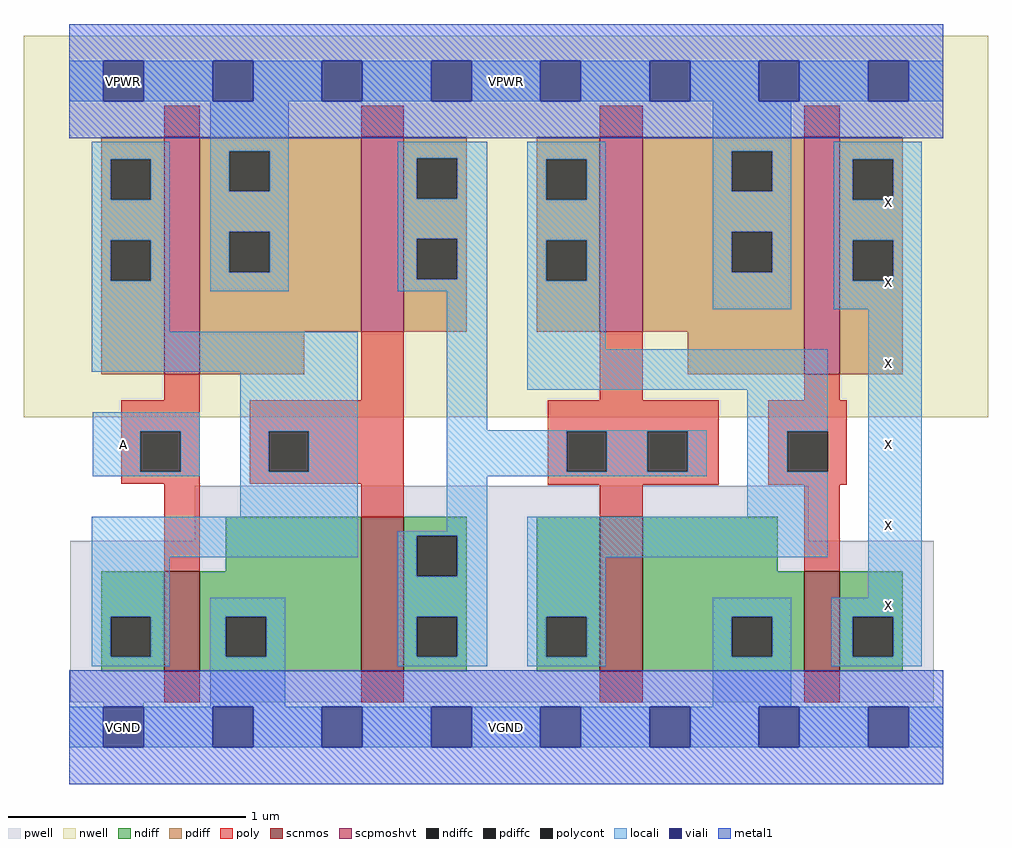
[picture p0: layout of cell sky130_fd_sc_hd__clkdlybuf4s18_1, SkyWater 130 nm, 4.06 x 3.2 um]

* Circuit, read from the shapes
.subckt sky130_fd_sc_hd__clkdlybuf4s18_1 A VGND VNB VPB VPWR X
XM1 VGND A n1 VNB sky130_fd_pr__nfet_01v8 w=0.42 l=0.15
XM2 n2 n1 VGND VNB sky130_fd_pr__nfet_01v8 w=0.65 l=0.18
XM3 VGND n2 n3 VNB sky130_fd_pr__nfet_01v8 w=0.65 l=0.18
XM4 X n3 VGND VNB sky130_fd_pr__nfet_01v8 w=0.42 l=0.15
XM5 VPWR A n1 VPB sky130_fd_pr__pfet_01v8_hvt w=1 l=0.15
XM6 n2 n1 VPWR VPB sky130_fd_pr__pfet_01v8_hvt w=0.82 l=0.18
XM7 VPWR n2 n3 VPB sky130_fd_pr__pfet_01v8_hvt w=0.82 l=0.18
XM8 X n3 VPWR VPB sky130_fd_pr__pfet_01v8_hvt w=1 l=0.15
.ends

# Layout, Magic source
magic
tech sky130A
magscale 1 2
<< nwell >>
rect -38 261 774 582
<< pwell >>
rect 106 157 623 203
rect 1 21 728 157
rect 29 -17 63 21
<< scnmos >>
rect 80 47 110 131
rect 246 47 282 177
rect 447 47 483 177
rect 619 47 649 131
<< scpmoshvt >>
rect 80 297 110 497
rect 246 333 282 497
rect 447 333 483 497
rect 619 297 649 497
<< ndiff >>
rect 132 131 246 177
rect 27 93 80 131
rect 27 59 35 93
rect 69 59 80 93
rect 27 47 80 59
rect 110 93 246 131
rect 110 59 132 93
rect 166 59 246 93
rect 110 47 246 59
rect 282 161 335 177
rect 282 127 293 161
rect 327 127 335 161
rect 282 93 335 127
rect 282 59 293 93
rect 327 59 335 93
rect 282 47 335 59
rect 394 93 447 177
rect 394 59 402 93
rect 436 59 447 93
rect 394 47 447 59
rect 483 131 597 177
rect 483 93 619 131
rect 483 59 558 93
rect 592 59 619 93
rect 483 47 619 59
rect 649 93 702 131
rect 649 59 660 93
rect 694 59 702 93
rect 649 47 702 59
<< pdiff >>
rect 27 478 80 497
rect 27 444 35 478
rect 69 444 80 478
rect 27 410 80 444
rect 27 376 35 410
rect 69 376 80 410
rect 27 297 80 376
rect 110 485 246 497
rect 110 451 135 485
rect 169 451 246 485
rect 110 417 246 451
rect 110 383 135 417
rect 169 383 246 417
rect 110 333 246 383
rect 282 479 335 497
rect 282 445 293 479
rect 327 445 335 479
rect 282 411 335 445
rect 282 377 293 411
rect 327 377 335 411
rect 282 333 335 377
rect 394 478 447 497
rect 394 444 402 478
rect 436 444 447 478
rect 394 410 447 444
rect 394 376 402 410
rect 436 376 447 410
rect 394 333 447 376
rect 483 485 619 497
rect 483 451 558 485
rect 592 451 619 485
rect 483 417 619 451
rect 483 383 558 417
rect 592 383 619 417
rect 483 333 619 383
rect 110 297 198 333
rect 521 297 619 333
rect 649 478 702 497
rect 649 444 660 478
rect 694 444 702 478
rect 649 410 702 444
rect 649 376 660 410
rect 694 376 702 410
rect 649 297 702 376
<< ndiffc >>
rect 35 59 69 93
rect 132 59 166 93
rect 293 127 327 161
rect 293 59 327 93
rect 402 59 436 93
rect 558 59 592 93
rect 660 59 694 93
<< pdiffc >>
rect 35 444 69 478
rect 35 376 69 410
rect 135 451 169 485
rect 135 383 169 417
rect 293 445 327 479
rect 293 377 327 411
rect 402 444 436 478
rect 402 376 436 410
rect 558 451 592 485
rect 558 383 592 417
rect 660 444 694 478
rect 660 376 694 410
<< poly >>
rect 80 497 110 523
rect 246 497 282 523
rect 447 497 483 523
rect 619 497 649 523
rect 80 275 110 297
rect 246 275 282 333
rect 447 275 483 333
rect 619 275 649 297
rect 44 249 110 275
rect 44 215 60 249
rect 94 215 110 249
rect 44 205 110 215
rect 152 249 282 275
rect 152 215 168 249
rect 202 215 282 249
rect 152 205 282 215
rect 80 131 110 205
rect 246 177 282 205
rect 403 249 547 275
rect 403 215 419 249
rect 453 215 487 249
rect 521 215 547 249
rect 403 204 547 215
rect 589 249 655 275
rect 589 215 605 249
rect 639 215 655 249
rect 589 204 655 215
rect 447 177 483 204
rect 619 131 649 204
rect 80 21 110 47
rect 246 21 282 47
rect 447 21 483 47
rect 619 21 649 47
<< polycont >>
rect 60 215 94 249
rect 168 215 202 249
rect 419 215 453 249
rect 487 215 521 249
rect 605 215 639 249
<< locali >>
rect 0 527 29 561
rect 63 527 121 561
rect 155 527 213 561
rect 247 527 305 561
rect 339 527 397 561
rect 431 527 489 561
rect 523 527 581 561
rect 615 527 673 561
rect 707 527 736 561
rect 19 478 85 493
rect 19 444 35 478
rect 69 444 85 478
rect 19 410 85 444
rect 19 376 35 410
rect 69 376 85 410
rect 19 333 85 376
rect 119 485 185 527
rect 119 451 135 485
rect 169 451 185 485
rect 119 417 185 451
rect 119 383 135 417
rect 169 383 185 417
rect 119 367 185 383
rect 277 479 352 493
rect 277 445 293 479
rect 327 445 352 479
rect 277 411 352 445
rect 277 377 293 411
rect 327 377 352 411
rect 277 367 352 377
rect 19 299 243 333
rect 20 249 110 265
rect 20 215 60 249
rect 94 215 110 249
rect 20 211 110 215
rect 144 249 243 299
rect 144 215 168 249
rect 202 215 243 249
rect 144 177 243 215
rect 19 143 243 177
rect 318 250 352 367
rect 386 478 452 493
rect 386 444 402 478
rect 436 444 452 478
rect 386 410 452 444
rect 386 376 402 410
rect 436 376 452 410
rect 386 318 452 376
rect 542 485 608 527
rect 542 451 558 485
rect 592 451 608 485
rect 542 417 608 451
rect 542 383 558 417
rect 592 383 608 417
rect 542 352 608 383
rect 644 478 718 493
rect 644 444 660 478
rect 694 444 718 478
rect 644 410 718 444
rect 644 376 660 410
rect 694 376 718 410
rect 644 352 718 376
rect 386 284 639 318
rect 318 249 537 250
rect 318 215 419 249
rect 453 215 487 249
rect 521 215 537 249
rect 318 211 537 215
rect 571 249 639 284
rect 571 215 605 249
rect 318 165 352 211
rect 571 177 639 215
rect 277 161 352 165
rect 19 93 85 143
rect 277 127 293 161
rect 327 127 352 161
rect 19 59 35 93
rect 69 59 85 93
rect 19 51 85 59
rect 119 93 182 109
rect 119 59 132 93
rect 166 59 182 93
rect 119 17 182 59
rect 277 93 352 127
rect 277 59 293 93
rect 327 59 352 93
rect 277 51 352 59
rect 386 143 639 177
rect 386 93 452 143
rect 673 109 718 352
rect 386 59 402 93
rect 436 59 452 93
rect 386 51 452 59
rect 542 93 608 109
rect 542 59 558 93
rect 592 59 608 93
rect 542 17 608 59
rect 642 93 718 109
rect 642 59 660 93
rect 694 59 718 93
rect 642 51 718 59
rect 0 -17 29 17
rect 63 -17 121 17
rect 155 -17 213 17
rect 247 -17 305 17
rect 339 -17 397 17
rect 431 -17 489 17
rect 523 -17 581 17
rect 615 -17 673 17
rect 707 -17 736 17
<< viali >>
rect 29 527 63 561
rect 121 527 155 561
rect 213 527 247 561
rect 305 527 339 561
rect 397 527 431 561
rect 489 527 523 561
rect 581 527 615 561
rect 673 527 707 561
rect 29 -17 63 17
rect 121 -17 155 17
rect 213 -17 247 17
rect 305 -17 339 17
rect 397 -17 431 17
rect 489 -17 523 17
rect 581 -17 615 17
rect 673 -17 707 17
<< metal1 >>
rect 0 561 736 592
rect 0 527 29 561
rect 63 527 121 561
rect 155 527 213 561
rect 247 527 305 561
rect 339 527 397 561
rect 431 527 489 561
rect 523 527 581 561
rect 615 527 673 561
rect 707 527 736 561
rect 0 496 736 527
rect 0 17 736 48
rect 0 -17 29 17
rect 63 -17 121 17
rect 155 -17 213 17
rect 247 -17 305 17
rect 339 -17 397 17
rect 431 -17 489 17
rect 523 -17 581 17
rect 615 -17 673 17
rect 707 -17 736 17
rect 0 -48 736 -17
<< labels >>
flabel metal1 s 29 527 63 561 0 FreeSans 200 0 0 0 VPWR
port 5 nsew power bidirectional abutment
flabel metal1 s 29 -17 63 17 0 FreeSans 200 0 0 0 VGND
port 2 nsew ground bidirectional abutment
flabel locali s 29 221 63 255 0 FreeSans 200 0 0 0 A
port 1 nsew signal input
flabel locali s 673 153 707 187 0 FreeSans 200 0 0 0 X
port 6 nsew signal output
flabel locali s 673 85 707 119 0 FreeSans 200 0 0 0 X
port 6 nsew signal output
flabel locali s 673 289 707 323 0 FreeSans 200 0 0 0 X
port 6 nsew signal output
flabel locali s 673 357 707 391 0 FreeSans 200 0 0 0 X
port 6 nsew signal output
flabel locali s 673 425 707 459 0 FreeSans 200 0 0 0 X
port 6 nsew signal output
flabel locali s 673 221 707 255 0 FreeSans 200 0 0 0 X
port 6 nsew signal output
flabel nwell s 29 527 63 561 0 FreeSans 200 0 0 0 VPB
port 4 nsew power bidirectional
flabel pwell s 29 -17 63 17 0 FreeSans 200 0 0 0 VNB
port 3 nsew ground bidirectional
rlabel comment s 0 0 0 0 4 clkdlybuf4s18_1
rlabel metal1 s 0 -48 736 48 1 VGND
port 2 nsew ground bidirectional abutment
rlabel metal1 s 0 496 736 592 1 VPWR
port 5 nsew power bidirectional abutment
<< properties >>
string FIXED_BBOX 0 0 736 544
string GDS_END 3249334
string GDS_FILE $PDKPATH/libs.ref/sky130_fd_sc_hd/gds/sky130_fd_sc_hd.gds
string GDS_START 3243086
string LEFclass CORE
string LEFsite unithd
string LEFsymmetry X Y R90
string path 0.000 13.600 18.400 13.600 
<< end >>
